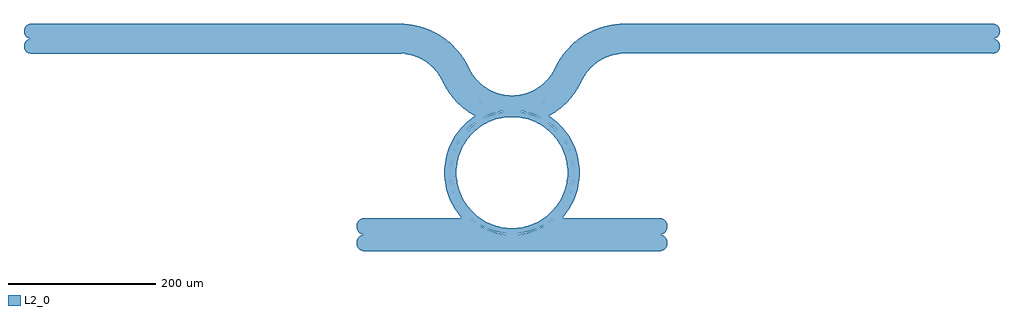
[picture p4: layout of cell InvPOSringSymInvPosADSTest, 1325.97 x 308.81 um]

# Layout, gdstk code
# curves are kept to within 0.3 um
import gdstk
lib = gdstk.Library(unit=1e-6, precision=1e-09)
def P(c, l, *ps):  # polygons
    for p in ps: c.add(gdstk.Polygon(p, *l))
L2_0 = (2, 0)

invposringsyminvposadste = lib.new_cell('InvPOSringSymInvPosADSTest')
P(invposringsyminvposadste, L2_0, [(-100,-306.75),(-104.36,-305.87),(-107.92,-303.47),(-110.32,-299.91),(-111.199,-295.695),(-110.423,-291.443),(-108.107,-287.823),(-104.609,-285.339),(-100.433,-284.358),(300.289,-284.354),(304.36,-285.23),(307.92,-287.63),(310.266,-291.065),(311.192,-295.117),(310.473,-299.529),(308.199,-303.18),(304.609,-305.761),(300.433,-306.742)],
  [(100,-283.5),(91.816,-283.098),(83.71,-281.896),(75.761,-279.905),(68.046,-277.144),(60.638,-273.64),(53.61,-269.428),(47.028,-264.546),(40.957,-259.043),(35.454,-252.972),(30.572,-246.39),(26.36,-239.362),(22.856,-231.954),(20.095,-224.239),(18.104,-216.29),(16.902,-208.184),(16.5,-200),(16.902,-191.816),(18.104,-183.71),(20.095,-175.761),(22.856,-168.046),(26.36,-160.638),(30.572,-153.61),(35.454,-147.028),(40.957,-140.957),(47.028,-135.454),(53.61,-130.572),(60.638,-126.36),(68.046,-122.856),(75.761,-120.095),(83.71,-118.104),(91.816,-116.902),(100,-116.5),(108.184,-116.902),(116.29,-118.104),(124.239,-120.095),(131.954,-122.856),(139.362,-126.36),(146.39,-130.572),(152.972,-135.454),(159.043,-140.957),(164.546,-147.028),(169.428,-153.61),(173.64,-160.638),(177.144,-168.046),(179.905,-175.761),(181.896,-183.71),(183.098,-191.816),(183.5,-200),(175.5,-200),(174.683,-188.922),(173.237,-181.655),(171.087,-174.565),(168.251,-167.72),(164.759,-161.185),(158.362,-152.103),(153.387,-146.613),(144.975,-139.358),(138.815,-135.241),(128.893,-130.247),(118.345,-126.763),(107.4,-124.864),(96.295,-124.591),(85.271,-125.951),(74.565,-128.913),(64.41,-133.415),(55.025,-139.358),(46.613,-146.613),(41.638,-152.103),(35.241,-161.185),(30.247,-171.107),(27.751,-178.084),(25.317,-188.922),(24.591,-196.295),(24.591,-203.705),(25.951,-214.729),(28.913,-225.435),(31.749,-232.28),(35.241,-238.815),(41.638,-247.897),(46.613,-253.387),(55.025,-260.642),(61.185,-264.759),(71.107,-269.753),(78.084,-272.249),(88.922,-274.683),(96.295,-275.409),(103.705,-275.409),(111.078,-274.683),(121.916,-272.249),(128.893,-269.753),(138.815,-264.759),(147.897,-258.362),(153.387,-253.387),(158.362,-247.897),(162.776,-241.946),(168.251,-232.28),(172.249,-221.916),(174.683,-211.078),(175.5,-200),(183.5,-200),(183.098,-208.184),(181.896,-216.29),(179.905,-224.239),(177.144,-231.954),(173.64,-239.362),(169.428,-246.39),(164.546,-252.972),(159.043,-259.043),(152.972,-264.546),(146.39,-269.428),(139.362,-273.64),(131.954,-277.144),(124.239,-279.905),(116.29,-281.896),(108.184,-283.098)],
  [(-100,-284.25),(-103.979,-283.523),(-107.531,-281.34),(-110.036,-278.028),(-111.156,-274.054),(-110.737,-269.851),(-108.894,-266.242),(-105.808,-263.471),(-101.844,-262.001),(31.896,-261.85),(26.105,-254.804),(21.089,-247.297),(15.003,-235.207),(11.961,-226.706),(9.768,-217.948),(8.443,-209.018),(8,-200),(8.996,-186.501),(11.961,-173.294),(15.003,-164.793),(18.863,-156.632),(23.505,-148.888),(28.883,-141.636),(34.946,-134.946),(41.636,-128.883),(49.767,-122.948),(42.244,-118.409),(35.478,-113.529),(29.123,-108.126),(23.219,-102.234),(17.803,-95.89),(12.4,-88.36),(8.123,-81.199),(2.283,-69.871),(-2.535,-62.833),(-10.754,-54.183),(-20.431,-47.204),(-27.53,-43.6),(-35.567,-40.746),(-43.911,-38.982),(-51.847,-38.348),(-552.985,-38.338),(-552.985,-18.338),(-52.985,-18.338),(-40.346,-19.292),(-28.708,-21.914),(-17.556,-26.154),(-6.493,-32.337),(2.962,-39.613),(9.826,-46.462),(16.283,-54.667),(20.614,-61.637),(27.555,-74.891),(33.986,-84.108),(42.675,-93.418),(52.044,-100.895),(63.049,-107.304),(74.891,-111.988),(87.301,-114.842),(100,-115.8),(112.699,-114.842),(125.109,-111.988),(136.951,-107.304),(147.956,-100.895),(157.325,-93.418),(166.014,-84.108),(172.445,-74.891),(179.386,-61.637),(183.717,-54.667),(190.174,-46.462),(197.038,-39.613),(206.493,-32.337),(217.556,-26.154),(228.708,-21.914),(240.346,-19.292),(252.985,-18.338),(752.985,-18.338),(752.985,-38.338),(252.416,-38.34),(243.348,-39.065),(233.93,-41.231),(227.008,-43.828),(219.942,-47.494),(213.833,-51.658),(208.243,-56.496),(203.608,-61.506),(199.849,-66.507),(188.6,-86.799),(183.888,-93.682),(178.642,-100.168),(172.229,-106.858),(165.249,-112.954),(157.756,-118.409),(150.233,-122.948),(158.364,-128.883),(168.168,-138.217),(173.895,-145.196),(181.137,-156.632),(184.997,-164.793),(189.243,-177.646),(191.557,-190.982),(192,-200),(184,-200),(183.596,-191.767),(181.483,-179.59),(179.09,-171.701),(175.935,-164.085),(172.049,-156.815),(164.933,-146.711),(159.397,-140.603),(153.289,-135.067),(143.185,-127.951),(135.915,-124.065),(128.299,-120.91),(120.41,-118.517),(112.325,-116.909),(104.122,-116.101),(95.878,-116.101),(87.675,-116.909),(79.59,-118.517),(71.701,-120.91),(64.085,-124.065),(53.332,-130.157),(46.711,-135.067),(37.76,-143.589),(32.531,-149.961),(27.951,-156.815),(24.065,-164.085),(20.91,-171.701),(18.517,-179.59),(16.404,-191.767),(16,-200),(16.404,-208.233),(17.614,-216.388),(19.617,-224.384),(22.394,-232.145),(25.919,-239.597),(30.157,-246.668),(35.067,-253.289),(43.589,-262.24),(49.961,-267.469),(56.815,-272.049),(64.085,-275.935),(71.701,-279.09),(83.612,-282.386),(95.878,-283.899),(104.122,-283.899),(112.325,-283.091),(124.384,-280.383),(135.915,-275.935),(143.185,-272.049),(150.039,-267.469),(159.397,-259.397),(164.933,-253.289),(169.843,-246.668),(174.081,-239.597),(177.606,-232.145),(180.383,-224.384),(182.386,-216.388),(183.596,-208.233),(184,-200),(192,-200),(191.557,-209.018),(190.232,-217.948),(188.039,-226.706),(184.997,-235.207),(181.137,-243.368),(176.495,-251.112),(168.104,-261.85),(301.706,-261.979),(304.856,-262.954),(307.531,-264.76),(309.579,-267.242),(310.881,-270.385),(311.185,-273.626),(310.52,-276.901),(308.975,-279.751),(306.593,-282.105),(303.462,-283.705),(300,-284.25)],
  [(100,-115.4),(87.361,-114.446),(75.009,-111.606),(63.223,-106.944),(51.658,-100.14),(42.4,-92.615),(33.834,-83.274),(27.515,-74.043),(20.963,-61.442),(16.612,-54.44),(10.621,-46.757),(3.786,-39.815),(-5.648,-32.421),(-16.033,-26.434),(-26.447,-22.208),(-38.067,-19.264),(-45.496,-18.27),(-52.985,-17.938),(-552.985,-17.938),(-552.985,2.062),(-52.985,2.062),(-37.284,0.877),(-22.826,-2.38),(-9.816,-7.262),(3.217,-14.319),(14.415,-22.547),(23.164,-30.826),(31.454,-40.802),(37.53,-50.114),(45.024,-64.355),(49.904,-71.35),(56.081,-78.027),(63.141,-83.764),(71.448,-88.702),(80.403,-92.336),(90.363,-94.673),(100,-95.4),(109.637,-94.673),(119.597,-92.336),(128.552,-88.702),(136.859,-83.764),(143.919,-78.027),(150.096,-71.35),(154.976,-64.355),(162.47,-50.114),(168.546,-40.802),(176.836,-30.826),(185.585,-22.547),(196.783,-14.319),(209.816,-7.262),(222.826,-2.38),(237.284,0.877),(252.985,2.062),(752.985,2.062),(752.985,-17.938),(252.985,-17.938),(245.496,-18.27),(238.067,-19.264),(226.447,-22.208),(216.033,-26.434),(205.648,-32.421),(196.214,-39.815),(189.379,-46.757),(183.388,-54.44),(179.037,-61.442),(172.485,-74.043),(166.166,-83.274),(157.6,-92.615),(148.342,-100.14),(136.777,-106.944),(124.991,-111.606),(112.639,-114.446)],
  [(-552.985,-38.338),(-556.877,-37.552),(-560.056,-35.409),(-562.199,-32.23),(-562.985,-28.338),(-562.199,-24.446),(-560.056,-21.267),(-556.877,-19.124),(-552.985,-18.338)],
  [(752.985,-38.338),(752.985,-18.338),(756.877,-19.124),(760.056,-21.267),(762.199,-24.446),(762.985,-28.338),(762.199,-32.23),(760.056,-35.409),(756.877,-37.552)],
  [(-552.985,-17.938),(-556.877,-17.152),(-560.056,-15.009),(-562.199,-11.83),(-562.985,-7.938),(-562.199,-4.046),(-560.056,-0.867),(-556.877,1.276),(-552.985,2.062)],
  [(752.985,-17.938),(752.985,2.062),(756.877,1.276),(760.056,-0.867),(762.199,-4.046),(762.985,-7.938),(762.199,-11.83),(760.056,-15.009),(756.877,-17.152)])

lib.write_gds('InvPOSringSymInvPosADSTest.gds')
